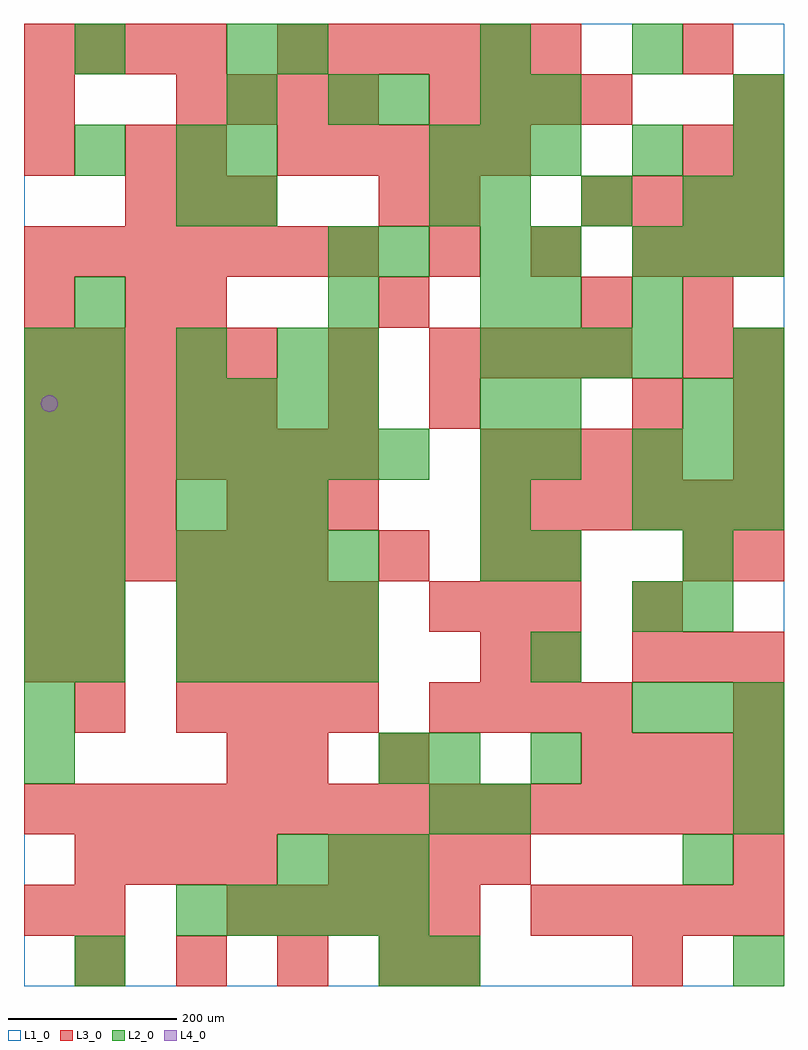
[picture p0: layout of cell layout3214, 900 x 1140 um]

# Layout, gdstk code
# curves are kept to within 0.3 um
import gdstk
lib = gdstk.Library(unit=1e-6, precision=1e-09)
def R(c, l, rs):  # rectangles x0, y0, x1, y1
    for r in rs: c.add(gdstk.rectangle(r[:2], r[2:], *l))
def A(c, l, x, y, w, h, nx, ny, dx, dy):  # array of equal rectangles
    R(c, l, [(x+i*dx, y+j*dy, x+i*dx+w, y+j*dy+h) for i in range(nx) for j in range(ny)])
def P(c, l, *ps):  # polygons
    for p in ps: c.add(gdstk.Polygon(p, *l))
L1_0 = (1, 0)
L2_0 = (2, 0)
L3_0 = (3, 0)
L4_0 = (4, 0)

layout3214 = lib.new_cell('layout3214')
R(layout3214, L1_0, [(0,0,900,1140)])
A(layout3214, L2_0, 180, 60, 60, 60, 5, 2, 60, 540)
A(layout3214, L2_0, 300, 120, 60, 60, 3, 1, 60, 0)
A(layout3214, L2_0, 0, 240, 60, 60, 1, 9, 0, 60)
A(layout3214, L2_0, 600, 240, 60, 60, 1, 4, 0, 120)
A(layout3214, L2_0, 720, 300, 60, 60, 3, 2, 60, 240)
A(layout3214, L2_0, 60, 360, 60, 60, 1, 6, 0, 60)
A(layout3214, L2_0, 180, 360, 60, 60, 4, 3, 60, 60)
A(layout3214, L2_0, 540, 480, 60, 60, 1, 4, 0, 60)
A(layout3214, L2_0, 180, 540, 60, 60, 3, 1, 60, 0)
A(layout3214, L2_0, 720, 600, 60, 60, 3, 2, 60, 240)
A(layout3214, L2_0, 180, 660, 60, 60, 4, 1, 60, 0)
A(layout3214, L2_0, 60, 720, 60, 60, 3, 1, 120, 0)
A(layout3214, L2_0, 360, 720, 60, 60, 1, 3, 0, 60)
A(layout3214, L2_0, 540, 720, 60, 60, 4, 1, 60, 0)
A(layout3214, L2_0, 240, 900, 60, 60, 1, 4, 0, 60)
A(layout3214, L2_0, 540, 900, 60, 60, 3, 1, 120, 0)
A(layout3214, L2_0, 840, 900, 60, 60, 1, 3, 0, 60)
A(layout3214, L2_0, 480, 960, 60, 60, 3, 1, 60, 0)
R(layout3214, L2_0, [(60,0,120,60), (420,0,480,60), (480,0,540,60), (840,0,900,60), (780,120,840,180), (480,180,540,240), (540,180,600,240), (840,180,900,240), (420,240,480,300), (480,240,540,300), (840,240,900,300), (720,420,780,480), (780,420,840,480), (780,480,840,540), (600,660,660,720), (780,660,840,720), (840,660,900,720), (840,720,900,780), (60,780,120,840), (540,780,600,840), (600,780,660,840), (720,780,780,840), (420,840,480,900), (540,840,600,900), (600,840,660,900), (180,900,240,960), (480,900,540,960), (60,960,120,1020), (180,960,240,1020), (720,960,780,1020), (360,1020,420,1080), (420,1020,480,1080), (540,1020,600,1080), (600,1020,660,1080), (60,1080,120,1140), (300,1080,360,1140), (540,1080,600,1140), (720,1080,780,1140)])
A(layout3214, L3_0, 60, 0, 60, 60, 4, 1, 120, 0)
A(layout3214, L3_0, 240, 60, 60, 60, 5, 1, 60, 0)
A(layout3214, L3_0, 600, 60, 60, 60, 5, 1, 60, 0)
A(layout3214, L3_0, 60, 120, 60, 60, 4, 1, 60, 0)
A(layout3214, L3_0, 360, 120, 60, 60, 4, 1, 60, 0)
A(layout3214, L3_0, 840, 120, 60, 60, 1, 3, 0, 180)
A(layout3214, L3_0, 0, 180, 60, 60, 15, 1, 60, 0)
A(layout3214, L3_0, 660, 240, 60, 60, 4, 2, 60, 660)
A(layout3214, L3_0, 60, 300, 60, 60, 1, 3, 0, 60)
A(layout3214, L3_0, 180, 300, 60, 60, 4, 3, 60, 60)
A(layout3214, L3_0, 480, 300, 60, 60, 4, 2, 60, 420)
A(layout3214, L3_0, 720, 360, 60, 60, 3, 1, 60, 0)
A(layout3214, L3_0, 480, 420, 60, 60, 3, 1, 60, 0)
A(layout3214, L3_0, 0, 480, 60, 60, 6, 1, 60, 0)
A(layout3214, L3_0, 0, 540, 60, 60, 3, 1, 60, 0)
A(layout3214, L3_0, 240, 540, 60, 60, 3, 1, 60, 0)
A(layout3214, L3_0, 540, 540, 60, 60, 6, 1, 60, 0)
A(layout3214, L3_0, 0, 600, 60, 60, 7, 2, 60, 240)
A(layout3214, L3_0, 540, 600, 60, 60, 4, 1, 60, 0)
A(layout3214, L3_0, 840, 600, 60, 60, 1, 3, 0, 60)
A(layout3214, L3_0, 0, 660, 60, 60, 5, 2, 60, 60)
A(layout3214, L3_0, 780, 720, 60, 60, 1, 3, 0, 60)
A(layout3214, L3_0, 180, 780, 60, 60, 3, 1, 240, 0)
A(layout3214, L3_0, 480, 840, 60, 60, 3, 1, 120, 0)
A(layout3214, L3_0, 120, 900, 60, 60, 3, 1, 60, 0)
A(layout3214, L3_0, 300, 960, 60, 60, 5, 1, 60, 0)
A(layout3214, L3_0, 180, 1020, 60, 60, 4, 1, 60, 0)
A(layout3214, L3_0, 480, 1020, 60, 60, 4, 1, 60, 0)
A(layout3214, L3_0, 0, 1080, 60, 60, 4, 1, 60, 0)
A(layout3214, L3_0, 300, 1080, 60, 60, 6, 1, 60, 0)
R(layout3214, L3_0, [(480,0,540,60), (720,0,780,60), (0,60,60,120), (60,60,120,120), (240,240,300,300), (300,240,360,300), (420,240,480,300), (0,360,60,420), (540,360,600,420), (600,360,660,420), (0,420,60,480), (720,420,780,480), (420,480,480,540), (540,480,600,540), (600,480,660,540), (780,480,840,540), (360,660,420,720), (480,660,540,720), (720,660,780,720), (360,720,420,780), (0,780,60,840), (120,780,180,840), (840,840,900,900), (420,900,480,960), (480,900,540,960), (0,960,60,1020), (120,960,180,1020), (180,960,240,1020), (780,960,840,1020), (840,960,900,1020), (0,1020,60,1080), (840,1020,900,1080), (780,1080,840,1140)])
P(layout3214, L4_0, [(40,690),(39.239,693.827),(37.071,697.071),(33.827,699.239),(30,700),(26.173,699.239),(22.929,697.071),(20.761,693.827),(20,690),(20.761,686.173),(22.929,682.929),(26.173,680.761),(30,680),(33.827,680.761),(37.071,682.929),(39.239,686.173)])

lib.write_gds('layout3214.gds')
